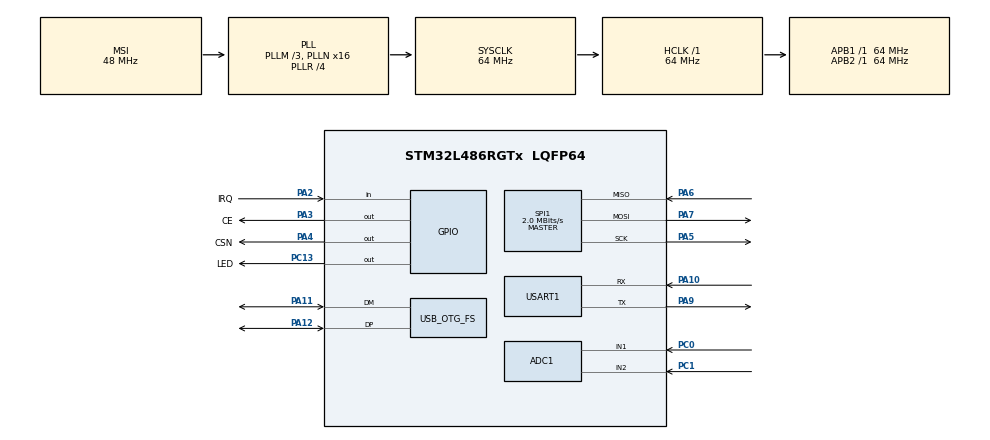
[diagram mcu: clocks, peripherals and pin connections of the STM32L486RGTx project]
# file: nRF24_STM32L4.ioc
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ADC1.Channel-24\#ChannelRegularConversion=ADC_CHANNEL_1
ADC1.Channel-25\#ChannelRegularConversion=ADC_CHANNEL_2
ADC1.ClockPrescaler=ADC_CLOCK_ASYNC_DIV2
ADC1.ContinuousConvMode=ENABLE
ADC1.DMAContinuousRequests=ENABLE
ADC1.EOCSelection=ADC_EOC_SEQ_CONV
ADC1.NbrOfConversion=2
ADC1.NbrOfConversionFlag=1
ADC1.OffsetNumber-24\#ChannelRegularConversion=ADC_OFFSET_NONE
ADC1.OffsetNumber-25\#ChannelRegularConversion=ADC_OFFSET_NONE
ADC1.Rank-24\#ChannelRegularConversion=1
ADC1.Rank-25\#ChannelRegularConversion=2
ADC1.SamplingTime-24\#ChannelRegularConversion=ADC_SAMPLETIME_47CYCLES_5
ADC1.SamplingTime-25\#ChannelRegularConversion=ADC_SAMPLETIME_47CYCLES_5
ADC1.master=1
Dma.ADC1.0.Direction=DMA_PERIPH_TO_MEMORY
Dma.ADC1.0.Instance=DMA1_Channel1
Dma.ADC1.0.MemDataAlignment=DMA_MDATAALIGN_HALFWORD
Dma.ADC1.0.MemInc=DMA_MINC_ENABLE
Dma.ADC1.0.Mode=DMA_CIRCULAR
Dma.ADC1.0.PeriphDataAlignment=DMA_PDATAALIGN_HALFWORD
Dma.ADC1.0.PeriphInc=DMA_PINC_DISABLE
Dma.ADC1.0.Priority=DMA_PRIORITY_LOW
Dma.Request0=ADC1
Mcu.Family=STM32L4
Mcu.Name=STM32L486RGTx
Mcu.Package=LQFP64
NVIC.ADC1_2_IRQn=true\:0\:0\:false\:false\:true\:true
NVIC.DMA1_Channel1_IRQn=true\:0\:0\:false\:false\:true\:false
NVIC.OTG_FS_IRQn=true\:0\:0\:false\:false\:true\:false
NVIC.PriorityGroup=NVIC_PRIORITYGROUP_4
PA10.Mode=Asynchronous
PA10.Signal=USART1_RX
PA11.Mode=Device_Only
PA11.Signal=USB_OTG_FS_DM
PA12.Mode=Device_Only
PA12.Signal=USB_OTG_FS_DP
PA13\ (JTMS-SWDIO).Mode=Serial_Wire
PA13\ (JTMS-SWDIO).Signal=SYS_JTMS-SWDIO
PA14\ (JTCK-SWCLK).Mode=Serial_Wire
PA14\ (JTCK-SWCLK).Signal=SYS_JTCK-SWCLK
PA2.GPIO_Label=IRQ
PA2.Signal=GPIO_Input
PA3.GPIO_Label=CE
PA3.GPIO_Speed=GPIO_SPEED_FREQ_VERY_HIGH
PA3.Signal=GPIO_Output
PA4.GPIO_Label=CSN
PA4.GPIO_Speed=GPIO_SPEED_FREQ_VERY_HIGH
PA4.Signal=GPIO_Output
PA5.Mode=Full_Duplex_Master
PA5.Signal=SPI1_SCK
PA6.Mode=Full_Duplex_Master
PA6.Signal=SPI1_MISO
PA7.Mode=Full_Duplex_Master
PA7.Signal=SPI1_MOSI
PA9.Mode=Asynchronous
PA9.Signal=USART1_TX
PC0.Signal=ADCx_IN1
PC1.Signal=ADCx_IN2
PC13.GPIO_Label=LED
PC13.Signal=GPIO_Output
ProjectManager.HeapSize=0x200
ProjectManager.StackSize=0x400
ProjectManager.TargetToolchain=TrueSTUDIO
RCC.ADCCLockSelection=RCC_ADCCLKSOURCE_SYSCLK
RCC.ADCFreq_Value=64000000
RCC.AHBFreq_Value=64000000
RCC.APB1Freq_Value=64000000
RCC.APB1TimFreq_Value=64000000
RCC.APB2Freq_Value=64000000
RCC.APB2TimFreq_Value=64000000
RCC.CK48CLockSelection=RCC_USBCLKSOURCE_MSI
RCC.CortexFreq_Value=64000000
RCC.HCLKFreq_Value=64000000
RCC.HSE_VALUE=8000000
RCC.HSI_VALUE=16000000
RCC.LSE_VALUE=32768
RCC.MSIClockRange=RCC_MSIRANGE_11
RCC.MSI_VALUE=48000000
RCC.PLLM=3
RCC.PLLN=16
RCC.PLLR=RCC_PLLR_DIV4
RCC.SYSCLKFreq_VALUE=64000000
RCC.SYSCLKSource=RCC_SYSCLKSOURCE_PLLCLK
RCC.USBFreq_Value=48000000
RCC.VCOOutputFreq_Value=256000000
SH.ADCx_IN1.0=ADC1_IN1,IN1-Single-Ended
SH.ADCx_IN2.0=ADC1_IN2,IN2-Single-Ended
SPI1.BaudRatePrescaler=SPI_BAUDRATEPRESCALER_32
SPI1.CalculateBaudRate=2.0 MBits/s
SPI1.DataSize=SPI_DATASIZE_8BIT
SPI1.Direction=SPI_DIRECTION_2LINES
SPI1.Mode=SPI_MODE_MASTER
SPI1.NSSPMode=SPI_NSS_PULSE_ENABLE
SPI1.VirtualType=VM_MASTER
USART1.VirtualMode-Asynchronous=VM_ASYNC
USB_DEVICE.CLASS_NAME_FS=CUSTOMHID
USB_DEVICE.PID_CUSTOMHID_FS=22353
USB_DEVICE.USBD_CUSTOMHID_OUTREPORT_BUF_SIZE=32
USB_DEVICE.USBD_CUSTOM_HID_REPORT_DESC_SIZE=38
USB_DEVICE.VirtualMode=CustomHid
USB_DEVICE.VirtualModeFS=Custom_Hid_FS
USB_OTG_FS.VirtualMode=Device_Only
VP_USB_DEVICE_VS_USB_DEVICE_CUSTOM_HID_FS.Mode=CUSTOM_HID_FS
board=custom

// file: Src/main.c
/**
  ******************************************************************************
  * @file           : main.c
  * @brief          : Main program body
  ******************************************************************************
  * This notice applies to any and all portions of this file
  * that are not between comment pairs USER CODE BEGIN and
  * USER CODE END. Other portions of this file, whether
  * inserted by the user or by software development tools
  * are owned by their respective copyright owners.
  *
  * Copyright (c) 2018 STMicroelectronics International N.V.
  * All rights reserved.
  *
  * Redistribution and use in source and binary forms, with or without
  * modification, are permitted, provided that the following conditions are met:
  *
  * 1. Redistribution of source code must retain the above copyright notice,
  *    this list of conditions and the following disclaimer.
  * 2. Redistributions in binary form must reproduce the above copyright notice,
  *    this list of conditions and the following disclaimer in the documentation
  *    and/or other materials provided with the distribution.
  * 3. Neither the name of STMicroelectronics nor the names of other
  *    contributors to this software may be used to endorse or promote products
  *    derived from this software without specific written permission.
  * 4. This software, including modifications and/or derivative works of this
  *    software, must execute solely and exclusively on microcontroller or
  *    microprocessor devices manufactured by or for STMicroelectronics.
  * 5. Redistribution and use of this software other than as permitted under
  *    this license is void and will automatically terminate your rights under
  *    this license.
  *
  * THIS SOFTWARE IS PROVIDED BY STMICROELECTRONICS AND CONTRIBUTORS "AS IS"
  * AND ANY EXPRESS, IMPLIED OR STATUTORY WARRANTIES, INCLUDING, BUT NOT
  * LIMITED TO, THE IMPLIED WARRANTIES OF MERCHANTABILITY, FITNESS FOR A
  * PARTICULAR PURPOSE AND NON-INFRINGEMENT OF THIRD PARTY INTELLECTUAL PROPERTY
  * RIGHTS ARE DISCLAIMED TO THE FULLEST EXTENT PERMITTED BY LAW. IN NO EVENT
  * SHALL STMICROELECTRONICS OR CONTRIBUTORS BE LIABLE FOR ANY DIRECT, INDIRECT,
  * INCIDENTAL, SPECIAL, EXEMPLARY, OR CONSEQUENTIAL DAMAGES (INCLUDING, BUT NOT
  * LIMITED TO, PROCUREMENT OF SUBSTITUTE GOODS OR SERVICES; LOSS OF USE, DATA,
  * OR PROFITS; OR BUSINESS INTERRUPTION) HOWEVER CAUSED AND ON ANY THEORY OF
  * LIABILITY, WHETHER IN CONTRACT, STRICT LIABILITY, OR TORT (INCLUDING
  * NEGLIGENCE OR OTHERWISE) ARISING IN ANY WAY OUT OF THE USE OF THIS SOFTWARE,
  * EVEN IF ADVISED OF THE POSSIBILITY OF SUCH DAMAGE.
  *
  ******************************************************************************
  */
#include "main.h"
#include "stm32l4xx_hal.h"
#include "adc.h"
#include "dma.h"
#include "spi.h"
#include "usart.h"
#include "usb_device.h"
#include "gpio.h"

/* USER CODE BEGIN Includes */
#include "usbd_customhid.h"
#include "NRF24.h"
#include <string.h>
#include "DWT_us.h"
/* USER CODE END Includes */

/* USER CODE BEGIN PV */
/* Private variables ---------------------------------------------------------*/
volatile uint16_t ADC_BUF[2];
extern ADC_HandleTypeDef hadc1;
char str1[32]={0};
uint8_t buf1[32]={0};
extern USBD_HandleTypeDef hUsbDeviceFS;
/* USER CODE END PV */

void SystemClock_Config(void);

/* USER CODE BEGIN PFP */
/* Private function prototypes -----------------------------------------------*/

/* USER CODE END PFP */

/* USER CODE BEGIN 0 */
/*
void HAL_ADC_ConvCpltCallback(ADC_HandleTypeDef* hadc)
{
	HAL_DAC_SetValue(&hdac, DAC_CHANNEL_1, DAC_ALIGN_12B_R, ADC_BUF[0]);
	HAL_DAC_SetValue(&hdac, DAC_CHANNEL_2, DAC_ALIGN_12B_R, ADC_BUF[1]);
}*/
/* USER CODE END 0 */

int main(void)
{
  /* USER CODE BEGIN 1 */
	uint8_t dt_reg=0;
	uint8_t retr_cnt, dt;
	uint16_t i=1,retr_cnt_full;
  /* USER CODE END 1 */

  /* MCU Configuration----------------------------------------------------------*/

  /* Reset of all peripherals, Initializes the Flash interface and the Systick. */
  HAL_Init();

  /* Configure the system clock */
  SystemClock_Config();

  /* USER CODE BEGIN SysInit */
  DWT_Delay_Init();
  /* USER CODE END SysInit */

  /* Initialize all configured peripherals */
  MX_GPIO_Init();
  MX_DMA_Init();
  MX_USB_DEVICE_Init();
  MX_SPI1_Init();
  MX_USART1_UART_Init();
  MX_ADC1_Init();
  /* USER CODE BEGIN 2 */
  //__HAL_UART_ENABLE_IT(&huart1, UART_IT_RXNE);
  NRF24_ini();
  HAL_ADC_Start_DMA(&hadc1,(uint32_t *)&ADC_BUF,2);
  /* USER CODE END 2 */

  /* Infinite loop */
  /* USER CODE BEGIN WHILE */
  uint8_t status=0x00, regval=0x00;
	NRF24L01_TX_Mode(buf1);
	regval = NRF24_ReadReg(CONFIG);
	regval |= (1<<PWR_UP);
	regval &= ~(1<<PRIM_RX);
	NRF24_WriteReg(CONFIG,regval);
	DelayMicro(150);
  while (1)
  {

  /* USER CODE END WHILE */

  /* USER CODE BEGIN 3 */
	  //HAL_Delay(100);

	   /* dt_reg = NRF24_ReadReg(CONFIG);

	    sprintf(str1,"CONFIG: 0x%02Xrn",dt_reg);

	    HAL_UART_Transmit(&huart1,(uint8_t*)str1,strlen(str1),0x1000);
	    USBD_CUSTOM_HID_SendReport(&hUsbDeviceFS,(uint8_t *)str1, strlen(str1));

	    HAL_Delay(10);

	    dt_reg = NRF24_ReadReg(EN_AA);

	    sprintf(str1,"EN_AA: 0x%02Xrn",dt_reg);

	    HAL_UART_Transmit(&huart1,(uint8_t*)str1,strlen(str1),0x1000);
	    USBD_CUSTOM_HID_SendReport(&hUsbDeviceFS,(uint8_t *)str1, strlen(str1));

	    HAL_Delay(10);

	    dt_reg = NRF24_ReadReg(EN_RXADDR);

	    sprintf(str1,"EN_RXADDR: 0x%02Xrn",dt_reg);

	    HAL_UART_Transmit(&huart1,(uint8_t*)str1,strlen(str1),0x1000);
	    USBD_CUSTOM_HID_SendReport(&hUsbDeviceFS,(uint8_t *)str1, strlen(str1));

	    HAL_Delay(10);

	    dt_reg = NRF24_ReadReg(STATUS);

	    sprintf(str1,"STATUS: 0x%02Xrn",dt_reg);

	    HAL_UART_Transmit(&huart1,(uint8_t*)str1,strlen(str1),0x1000);
	    USBD_CUSTOM_HID_SendReport(&hUsbDeviceFS,(uint8_t *)str1, strlen(str1));

	    HAL_Delay(10);

	    dt_reg = NRF24_ReadReg(RF_SETUP);

	    sprintf(str1,"RF_SETUP: 0x%02Xrn",dt_reg);

	    HAL_UART_Transmit(&huart1,(uint8_t*)str1,strlen(str1),0x1000);
	    USBD_CUSTOM_HID_SendReport(&hUsbDeviceFS,(uint8_t *)str1, strlen(str1));

	    HAL_Delay(10);

	    NRF24_Read_Buf(TX_ADDR,buf1,3);

	    sprintf(str1,"TX_ADDR: 0x%02X, 0x%02X, 0x%02Xrn",buf1[0],buf1[1],buf1[2]);

	    HAL_UART_Transmit(&huart1,(uint8_t*)str1,strlen(str1),0x1000);
	    USBD_CUSTOM_HID_SendReport(&hUsbDeviceFS,(uint8_t *)str1, strlen(str1));

	    HAL_Delay(10);

	    NRF24_Read_Buf(RX_ADDR_P0,buf1,3);

	    sprintf(str1,"RX_ADDR: 0x%02X, 0x%02X, 0x%02Xrn",buf1[0],buf1[1],buf1[2]);

	    HAL_UART_Transmit(&huart1,(uint8_t*)str1,strlen(str1),0x1000);
	    USBD_CUSTOM_HID_SendReport(&hUsbDeviceFS,(uint8_t *)str1, strlen(str1));

	    HAL_Delay(10);

	    	    sprintf(str1,"ADC: 0x%02X, 0x%02Xrn",ADC_BUF[0],ADC_BUF[1]);

	    	    HAL_UART_Transmit(&huart1,(uint8_t*)str1,strlen(str1),0x1000);
	    	    USBD_CUSTOM_HID_SendReport(&hUsbDeviceFS,(uint8_t *)str1, strlen(str1));*/

	    //HAL_Delay(10);
	    //dt = NRF24L01_Send((uint8_t *)ADC_BUF);

	    buf1[0] = ADC_BUF[0]&0xFF;
	    buf1[1] = (ADC_BUF[0]>>8)&0xFF;
	    buf1[2] = ADC_BUF[1]&0xFF;
	    buf1[3] = (ADC_BUF[1]>>8)&0xFF;
	    //memcpy(buf1,(uint8_t*)&ADC_BUF[0],2);
	    //memcpy(buf1+2,(uint8_t*)&ADC_BUF[1],2);
	    //dt = NRF24L01_Send(buf1);

	    NRF24_Transmit(WR_TX_PLOAD, buf1, 5);
	      CE_SET;
	      DelayMicro(15); //minimum 10us high pulse (Page 21)
	      CE_RESET;

	      while((GPIO_PinState)IRQ == GPIO_PIN_SET) {}
  }
  /* USER CODE END 3 */

}

void SystemClock_Config(void)
{

  RCC_OscInitTypeDef RCC_OscInitStruct;
  RCC_ClkInitTypeDef RCC_ClkInitStruct;
  RCC_PeriphCLKInitTypeDef PeriphClkInit;

    /**Initializes the CPU, AHB and APB busses clocks
    */
  RCC_OscInitStruct.OscillatorType = RCC_OSCILLATORTYPE_MSI;
  RCC_OscInitStruct.MSIState = RCC_MSI_ON;
  RCC_OscInitStruct.MSICalibrationValue = 0;
  RCC_OscInitStruct.MSIClockRange = RCC_MSIRANGE_11;
  RCC_OscInitStruct.PLL.PLLState = RCC_PLL_ON;
  RCC_OscInitStruct.PLL.PLLSource = RCC_PLLSOURCE_MSI;
  RCC_OscInitStruct.PLL.PLLM = 3;
  RCC_OscInitStruct.PLL.PLLN = 16;
  RCC_OscInitStruct.PLL.PLLP = RCC_PLLP_DIV7;
  RCC_OscInitStruct.PLL.PLLQ = RCC_PLLQ_DIV2;
  RCC_OscInitStruct.PLL.PLLR = RCC_PLLR_DIV4;
  if (HAL_RCC_OscConfig(&RCC_OscInitStruct) != HAL_OK)
  {
    _Error_Handler(__FILE__, __LINE__);
  }

    /**Initializes the CPU, AHB and APB busses clocks
    */
  RCC_ClkInitStruct.ClockType = RCC_CLOCKTYPE_HCLK|RCC_CLOCKTYPE_SYSCLK
                              |RCC_CLOCKTYPE_PCLK1|RCC_CLOCKTYPE_PCLK2;
  RCC_ClkInitStruct.SYSCLKSource = RCC_SYSCLKSOURCE_PLLCLK;
  RCC_ClkInitStruct.AHBCLKDivider = RCC_SYSCLK_DIV1;
  RCC_ClkInitStruct.APB1CLKDivider = RCC_HCLK_DIV1;
  RCC_ClkInitStruct.APB2CLKDivider = RCC_HCLK_DIV1;

  if (HAL_RCC_ClockConfig(&RCC_ClkInitStruct, FLASH_LATENCY_3) != HAL_OK)
  {
    _Error_Handler(__FILE__, __LINE__);
  }

  PeriphClkInit.PeriphClockSelection = RCC_PERIPHCLK_USART1|RCC_PERIPHCLK_USB
                              |RCC_PERIPHCLK_ADC;
  PeriphClkInit.Usart1ClockSelection = RCC_USART1CLKSOURCE_PCLK2;
  PeriphClkInit.AdcClockSelection = RCC_ADCCLKSOURCE_SYSCLK;
  PeriphClkInit.UsbClockSelection = RCC_USBCLKSOURCE_MSI;
  if (HAL_RCCEx_PeriphCLKConfig(&PeriphClkInit) != HAL_OK)
  {
    _Error_Handler(__FILE__, __LINE__);
  }

    /**Configure the main internal regulator output voltage
    */
  if (HAL_PWREx_ControlVoltageScaling(PWR_REGULATOR_VOLTAGE_SCALE1) != HAL_OK)
  {
    _Error_Handler(__FILE__, __LINE__);
  }

    /**Configure the Systick interrupt time
    */
  HAL_SYSTICK_Config(HAL_RCC_GetHCLKFreq()/1000);

    /**Configure the Systick
    */
  HAL_SYSTICK_CLKSourceConfig(SYSTICK_CLKSOURCE_HCLK);

  /* SysTick_IRQn interrupt configuration */
  HAL_NVIC_SetPriority(SysTick_IRQn, 0, 0);
}

void _Error_Handler(char *file, int line)
{
  while(1)
  {
  }
}

/************************ (C) COPYRIGHT STMicroelectronics *****END OF FILE****/
